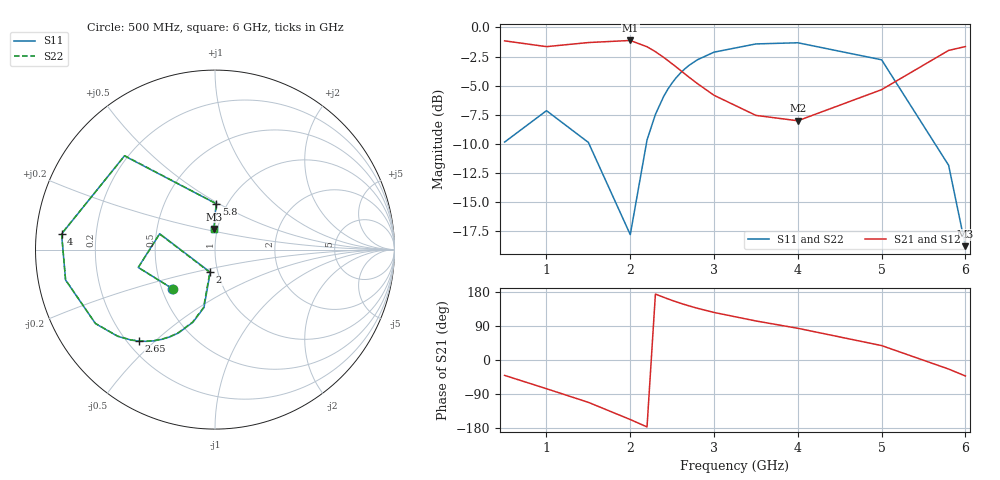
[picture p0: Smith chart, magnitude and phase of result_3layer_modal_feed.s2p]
! Top/L2/L3, intact L2; unchanged pads and tapers
! Reference at outer feed ends
# Hz S RI R 50
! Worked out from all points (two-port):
!   20 points, 500 MHz to 6 GHz, reference 50 ohm
!   highest |S21| = -1.12 dB at 2 GHz (marker M1); lowest = -8.0 dB at 4 GHz (marker M2)
!   |S21| within 3 dB of the highest: start of sweep to 2.674 GHz; 5.291 GHz to end of sweep
!   lowest |S11| = -18.8 dB at 6 GHz (marker M3), VSWR 1.26, Z = 48 + j11.2 ohm
!   |S11| at or under -10 dB: 1.508 GHz to 2.192 GHz (684.3 MHz wide, 37 % of centre); 5.637 GHz to end of sweep
!   |S22| runs from -18.9 to -1.3 dB; largest |S21 - S12| = 5.5e-08
!   S11 on the Smith chart (normalised r, x): 500 MHz: 0.57, -0.28; 2 GHz: 0.92, -0.24; 2.65 GHz: 0.24, -0.45; 4 GHz: 0.08, +0.05; 5.8 GHz: 0.89, +0.49; 6 GHz: 0.96, +0.22
5e8  -0.2369 -0.2178  0.6648 -0.5699  0.6648 -0.5699  -0.2367 -0.2179
1e9  -0.4276 -0.0991  0.2029 -0.8017  0.2029 -0.8017  -0.4274 -0.0997
1.5e9  -0.3082 0.0884  -0.3193 -0.7997  -0.3193 -0.7997  -0.3087 0.0871
2e9  -0.0265 -0.126  -0.8099 -0.3419  -0.8099 -0.3419  -0.0287 -0.1268
2.2e9  -0.0614 -0.3228  -0.8246 -0.0483  -0.8246 -0.0483  -0.0638 -0.3229
2.3e9  -0.1228 -0.4046  -0.7826 0.0813  -0.7826 0.0813  -0.1253 -0.4043
2.4e9  -0.2029 -0.4641  -0.7187 0.1882  -0.7187 0.1882  -0.2053 -0.4635
2.45e9  -0.2468 -0.4846  -0.6818 0.2323  -0.6818 0.2323  -0.2491 -0.4838
2.5e9  -0.2918 -0.4991  -0.6432 0.2702  -0.6432 0.2702  -0.2939 -0.4981
2.55e9  -0.3368 -0.5078  -0.6038 0.3024  -0.6038 0.3024  -0.3389 -0.5067
2.6e9  -0.3811 -0.5113  -0.5644 0.3292  -0.5644 0.3292  -0.3831 -0.5101
2.65e9  -0.4241 -0.51  -0.5256 0.3513  -0.5256 0.3513  -0.426 -0.5087
2.7e9  -0.4654 -0.5046  -0.488 0.3692  -0.488 0.3692  -0.4672 -0.5032
2.8e9  -0.5416 -0.4834  -0.4172 0.3944  -0.4172 0.3944  -0.5431 -0.4819
3e9  -0.6657 -0.4125  -0.2965 0.4162  -0.2965 0.4162  -0.6668 -0.4108
3.5e9  -0.8323 -0.17  -0.0942 0.4081  -0.0942 0.4081  -0.8326 -0.1683
4e9  -0.8548 0.0869  0.0439 0.3948  0.0439 0.3948  -0.8546 0.0886
5e9  -0.5046 0.522  0.4257 0.3329  0.4257 0.3329  -0.5031 0.5232
5.8e9  0.00653 0.2556  0.7286 -0.3226  0.7286 -0.3226  0.00859 0.2547
6e9  -0.00694 0.1147  0.6129 -0.5557  0.6129 -0.5557  -0.0053 0.1132
